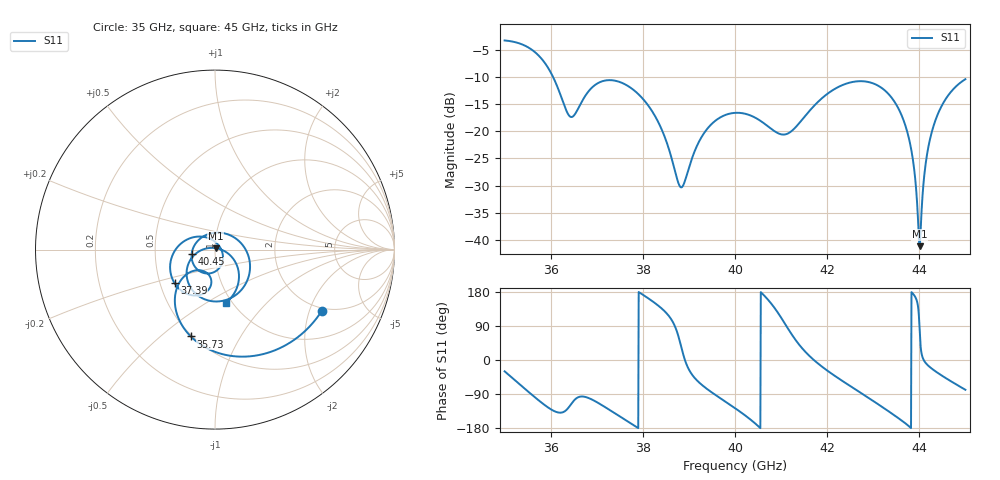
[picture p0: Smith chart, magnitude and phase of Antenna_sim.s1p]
! Touchstone file exported from HFSS 2023.2.0
!  File:  C:/Users/aleja/Downloads/Antena 40GHz_3S_3_Mejora_1.4/Antena 40GHz_3S_3_Mejora_1.4.aedt
!  Generated:  6:50:38 p. m.  jun. 24, 2024
!  Design:  HFSSDesign1
!  Project:  Antena 40GHz_3S_3_Mejora_1.4
!  Setup:  Auto1
!  Solution:  Sweep
! Variables:
!  Espesor = 0.22mm
!  L = 31.835mm
!  LLT = 8.1mm
!  LLT1 = 2.5mm
!  LLT2 = 2.5mm
!  LP1 = 2.1mm
!  LP2 = 2.1mm
!  LP3 = 2.1mm
!  LTR = 8.117mm
!  Lg = 28.787mm
!  TRL = 1.27mm
!  TRW = 1.565mm
!  W = 15mm
!  WLT = 2.5mm
!  WLT1 = 1.25mm
!  WLT2 = 1.25mm
!  WP1 = 11.9mm
!  WP2 = 11.9mm
!  WP3 = 11.9mm
!  WTR = 1.565mm
!  Wg = 11.9mm
!  devastado = -0.17mm
!  h = 0.508mm
!  oz = 0.035mm
# GHz S RI R 50.000000
! Terminal data exported
! Port[1] = 1
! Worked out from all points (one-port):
!   1001 points, 35 GHz to 45 GHz, reference 50 ohm
!   lowest |S11| = -41.1 dB at 44.01 GHz (marker M1), VSWR 1.02, Z = 50.3 + j0.835 ohm
!   |S11| at or under -10 dB: 36.05 GHz to end of sweep
!   S11 on the Smith chart (normalised r, x): 35 GHz: 1.89, -2.43; 35.73 GHz: 0.49, -0.64; 37.39 GHz: 0.60, -0.24; 40.45 GHz: 0.77, -0.04; 45 GHz: 0.94, -0.61
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35  0.5948 -0.3415
! Gamma 0 0
! Port Impedance 50 0
35.38  0.2182 -0.5919
35.73  -0.1349 -0.4839
35.97  -0.2237 -0.2919
36.25  -0.1463 -0.1298
36.47  -0.0512 -0.1259
36.93  -0.0738 -0.2497
37.39  -0.2253 -0.1869
37.5  -0.2431 -0.1472
38.24  -0.1274 0.067
38.75  0.0114 0.0338
38.87  0.03 0.00949
39.43  0.0195 -0.1077
40  -0.0891 -0.1181
40.45  -0.1302 -0.026
40.97  -0.0439 0.0838
41.25  0.0447 0.0921
41.91  0.1936 -0.0689
42.5  0.1022 -0.2622
43.26  -0.1496 -0.1827
43.75  -0.0939 -0.0128
43.87  -0.0512 0.0056
43.97  -0.0127 0.00964
44.01  0.00281 0.0083
44.15  0.0541 -0.00911
44.31  0.1008 -0.05
44.6  0.1335 -0.1574
45  0.0597 -0.2959
